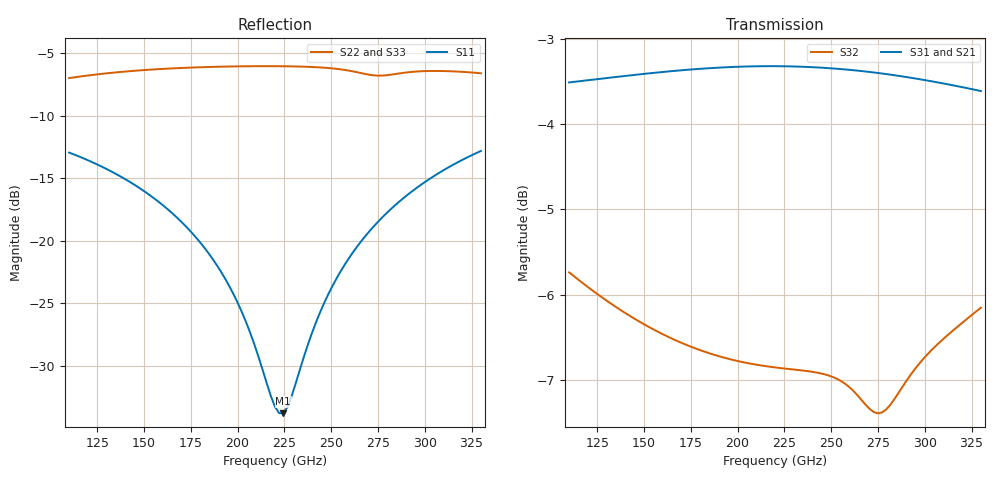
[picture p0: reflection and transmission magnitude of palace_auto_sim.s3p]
#  GHZ S DB R 50
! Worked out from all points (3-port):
!   101 points, 110 GHz to 330 GHz, reference 50 ohm
!   strongest paths, dB at 110 GHz, 165 GHz, 220 GHz, 275 GHz, 330 GHz:
!     S31: -3.5, -3.4, -3.3, -3.4, -3.6
!     S21: -3.5, -3.4, -3.3, -3.4, -3.6
!     S32: -5.7, -6.5, -6.9, -7.4, -6.2
!   lowest |S11| = -33.8 dB at 224.4 GHz (marker M1), VSWR 1.04, Z = 52.1 - j0.334 ohm
!   |S11| at or under -10 dB: start of sweep to end of sweep
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110  -12.96 131.6  -3.51 -44.0  -3.51 -44.0
     -3.51 -44.0  -7.00 50.8  -5.74 -97.9
     -3.51 -44.0  -5.74 -97.9  -7.01 50.7
149.6  -15.99 112.7  -3.41 -60.4  -3.41 -60.4
       -3.41 -60.4  -6.37 27.3  -6.34 -128.2
       -3.41 -60.4  -6.34 -128.2  -6.37 27.2
180.4  -20.20 94.9  -3.35 -73.4  -3.35 -73.4
       -3.35 -73.4  -6.14 12.0  -6.65 -150.9
       -3.35 -73.4  -6.65 -150.9  -6.14 12.0
200.2  -25.00 77.1  -3.33 -81.9  -3.33 -81.9
       -3.33 -81.9  -6.07 3.0  -6.78 -165.5
       -3.33 -81.9  -6.78 -165.5  -6.07 3.0
220  -33.27 20.3  -3.32 -90.4  -3.32 -90.4
     -3.32 -90.4  -6.05 -5.7  -6.85 179.9
     -3.32 -90.4  -6.85 179.9  -6.06 -5.8
224.4  -33.79 -9.0  -3.32 -92.3  -3.32 -92.4
       -3.32 -92.3  -6.06 -7.7  -6.87 176.7
       -3.32 -92.4  -6.87 176.7  -6.06 -7.7
246.4  -24.93 -80.9  -3.34 -101.9  -3.34 -101.9
       -3.34 -101.9  -6.18 -17.6  -6.93 160.0
       -3.34 -101.9  -6.93 160.0  -6.18 -17.6
264  -20.44 -97.2  -3.37 -109.5  -3.37 -109.5
     -3.37 -109.5  -6.54 -25.3  -7.18 146.7
     -3.37 -109.5  -7.18 146.7  -6.54 -25.3
292.6  -16.12 -114.5  -3.46 -121.8  -3.46 -121.8
       -3.46 -121.8  -6.52 -33.5  -6.94 130.4
       -3.46 -121.8  -6.94 130.4  -6.51 -33.5
330  -12.83 -132.9  -3.61 -137.6  -3.61 -137.6
     -3.61 -137.6  -6.62 -54.1  -6.15 101.2
     -3.61 -137.6  -6.15 101.2  -6.61 -54.1
